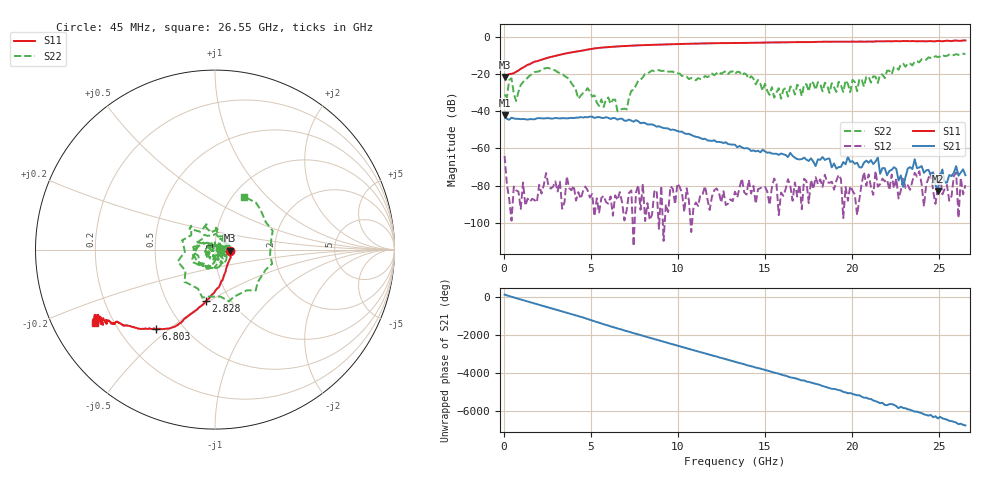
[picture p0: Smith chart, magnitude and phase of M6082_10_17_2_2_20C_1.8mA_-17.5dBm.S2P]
!  2-Port S-parameters saved by WinCal
! VAR MeasName=S-Parameters (CALIBRATED_DATA) read from VNA (C)
! VAR MeasDate=10/16/2015 3:44:15 PM
! VAR NAME=M6082_10_17_2_2_20C_1.8mA_-17.5dBm
! VAR FILENAME=M6082_10_17_2_2_20C_1.8mA_-17.5dBm.S2P
! VAR DATE=10/16/2015 3:44:15 PM
! VAR PHYS_PORTS=2,1
! VAR ObjTypeName=DATASET
! VAR IndexType=Frequency
# Hz S RI R 50
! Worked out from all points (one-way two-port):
!   201 points, 45 MHz to 26.55 GHz, reference 50 ohm
!   highest |S21| = -42.26 dB at 45 MHz (marker M1); lowest = -82.8 dB at 24.95 GHz (marker M2)
!   lowest |S11| = -21.7 dB at 45 MHz (marker M3), VSWR 1.18, Z = 59 - j0.622 ohm
!   |S11| at or under -10 dB: start of sweep to 3.11 GHz
!   |S22| runs from -40.1 to -9.2 dB; largest |S21 - S12| = 0.0071
!   S11 on the Smith chart (normalised r, x): 45 MHz: 1.18, -0.01; 2.828 GHz: 0.77, -0.48; 6.803 GHz: 0.35, -0.45; 26.55 GHz: 0.13, -0.28
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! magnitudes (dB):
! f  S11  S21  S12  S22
! 45 MHz  -21.7  -42.3  -64.1  -31.1
! 177.5 MHz  -20.9  -44.2  -79.3  -32.6
! 442.5 MHz  -20.0  -43.5  -98.7  -22.4
! 707.5 MHz  -18.9  -44.1  -82.5  -34.6
! 1.502 GHz  -14.8  -44.3  -88.5  -20.9
! 2.828 GHz  -10.7  -44.0  -80.6  -17.9
! 4.55 GHz  -7.5  -43.4  -83.1  -30.4
! 6.803 GHz  -5.1  -44.1  -89.0  -38.9
! 8.922 GHz  -4.3  -48.1  -103.2  -18.0
! 13.29 GHz  -3.5  -58.0  -83.2  -20.0
! 15.95 GHz  -3.1  -62.7  -83.7  -33.4
! 17.8 GHz  -2.9  -67.1  -81.8  -25.0
! 20.32 GHz  -2.8  -67.7  -95.7  -29.3
! 20.71 GHz  -2.8  -67.6  -72.8  -26.9
! 21.25 GHz  -2.7  -68.4  -84.9  -21.3
! 21.38 GHz  -2.6  -67.0  -72.1  -21.6
! 22.17 GHz  -2.5  -72.1  -82.3  -18.4
! 22.97 GHz  -2.4  -80.6  -75.9  -14.5
! 23.63 GHz  -2.5  -65.8  -73.1  -13.3
! 24.95 GHz  -2.4  -82.8  -81.7  -11.0
! 25.22 GHz  -2.6  -71.3  -84.6  -9.9
! 26.55 GHz  -2.1  -74.4  -79.7  -9.5
